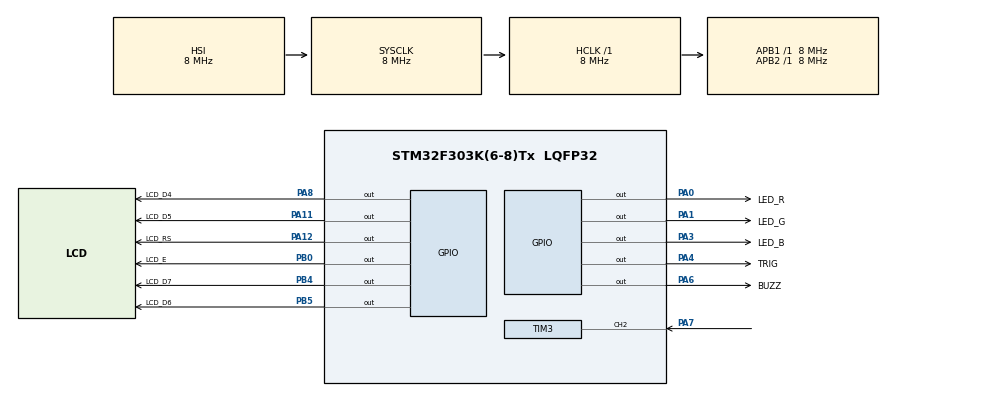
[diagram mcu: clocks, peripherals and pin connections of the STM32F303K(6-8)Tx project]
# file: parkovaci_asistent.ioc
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Mcu.Family=STM32F3
Mcu.Name=STM32F303K(6-8)Tx
Mcu.Package=LQFP32
NVIC.PriorityGroup=NVIC_PRIORITYGROUP_4
NVIC.TIM3_IRQn=true\:0\:0\:false\:false\:true\:true\:true\:true
PA0.GPIO_Label=LED_R
PA0.GPIO_Speed=GPIO_SPEED_FREQ_LOW
PA0.Signal=GPIO_Output
PA1.GPIO_Label=LED_G
PA1.Signal=GPIO_Output
PA11.GPIO_Label=LCD_D5
PA11.GPIO_Speed=GPIO_SPEED_FREQ_MEDIUM
PA11.Signal=GPIO_Output
PA12.GPIO_Label=LCD_RS
PA12.GPIO_Speed=GPIO_SPEED_FREQ_MEDIUM
PA12.Signal=GPIO_Output
PA13.Mode=Serial_Wire
PA13.Signal=SYS_JTMS-SWDIO
PA14.Mode=Serial_Wire
PA14.Signal=SYS_JTCK-SWCLK
PA3.GPIO_Label=LED_B
PA3.Signal=GPIO_Output
PA4.GPIO_Label=TRIG
PA4.GPIO_Speed=GPIO_SPEED_FREQ_MEDIUM
PA4.Signal=GPIO_Output
PA6.GPIO_Label=BUZZ
PA6.Signal=GPIO_Output
PA7.Signal=S_TIM3_CH2
PA8.GPIO_Label=LCD_D4
PA8.GPIO_Speed=GPIO_SPEED_FREQ_MEDIUM
PA8.Signal=GPIO_Output
PB0.GPIO_Label=LCD_E
PB0.GPIO_Speed=GPIO_SPEED_FREQ_MEDIUM
PB0.Signal=GPIO_Output
PB4.GPIO_Label=LCD_D7
PB4.GPIO_Speed=GPIO_SPEED_FREQ_MEDIUM
PB4.Signal=GPIO_Output
PB5.GPIO_Label=LCD_D6
PB5.GPIO_Speed=GPIO_SPEED_FREQ_MEDIUM
PB5.Signal=GPIO_Output
ProjectManager.HeapSize=0x200
ProjectManager.StackSize=0x400
ProjectManager.TargetToolchain=STM32CubeIDE
RCC.AHBFreq_Value=8000000
RCC.APB1Freq_Value=8000000
RCC.APB2Freq_Value=8000000
RCC.CortexFreq_Value=8000000
RCC.HSE_VALUE=8000000
RCC.HSI_VALUE=8000000
RCC.SYSCLKFreq_VALUE=8000000
SH.S_TIM3_CH2.0=TIM3_CH2,Input_Capture2_from_TI2
TIM3.Channel-Input_Capture2_from_TI2=TIM_CHANNEL_2
TIM3.Prescaler=7
VP_TIM3_VS_ClockSourceINT.Mode=Internal
board=custom

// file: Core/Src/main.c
/* USER CODE BEGIN Header */
/**
  ******************************************************************************
  * @file           :
  * @brief          :
  ******************************************************************************
  * @attention
  *
  * Copyright (c) 2025 STMicroelectronics.
  * All rights reserved.
  *
  * This software is licensed under terms that can be found in the LICENSE file
  * in the root directory of this software component.
  * If no LICENSE file comes with this software, it is provided AS-IS.
  *
  ******************************************************************************
  */
/* USER CODE END Header */
#include "main.h"
#include "lcd1602.h"
#include "rgb_led.h"
#include "buzzer.h"
#include "hcsr04.h"
#include <stdio.h>
#include "stm32f3xx_hal.h"

TIM_HandleTypeDef htim3;

void SystemClock_Config(void);
static void MX_GPIO_Init(void);
static void MX_TIM3_Init(void);
/* USER CODE BEGIN PFP */

/* ================= PALIČKY NA LCD ================= */

static void LCD_DrawBars(float d)

{

    uint8_t bars = 0;

    if      (d < 10.0f) bars = 16;

    else if (d < 15.0f) bars = 12;

    else if (d < 20.0f) bars = 8;

    else if (d < 25.0f) bars = 4;

    else                bars = 0;

    LCD1602_SetCursor(1, 0);

    for (uint8_t i = 0; i < 16; i++)
        {
            if (i < bars)
                LCD1602_WriteChar(0xFF);
            else
                LCD1602_WriteChar(' ');
        }
}

/* ================================================= */
/* USER CODE END PFP */

int main(void)
{

  /* MCU Configuration--------------------------------------------------------*/

  /* Reset of all peripherals, Initializes the Flash interface and the Systick. */
  HAL_Init();

  /* Configure the system clock */
  SystemClock_Config();

  /* Initialize all configured peripherals */
  MX_GPIO_Init();
  MX_TIM3_Init();
  LCD1602_Init();
  RGB_LED_Init();
  Buzzer_Init();

  HCSR04_Init(&htim3, TIM_CHANNEL_2);
  HAL_TIM_IC_Start_IT(&htim3, TIM_CHANNEL_2);

  /* Infinite loop */
    while (1)
    {
  	  static uint32_t lastTrig = 0;
  	  static uint32_t lastLcd  = 0;

  	  uint32_t now = HAL_GetTick();

  	  if (now - lastTrig >= 60)
  	  {
  	      HCSR04_Trigger();
  	      lastTrig = now;
  	  }

  	  if (HCSR04_IsReady())
  	  {
  	      float d = HCSR04_GetDistanceCm();

  	      if (d < 10.0f) { RGB_LED_Red(); Buzzer_On();}
  	      else if (d < 25.0f) { RGB_LED_Yellow(); Buzzer_Off();}
  	      else { RGB_LED_Green(); Buzzer_Off();}

  	      if (now - lastLcd >= 200)
  	      {
  	          char line0[17];
  	          snprintf(line0, sizeof(line0), "Dist: %3.1fcm", d);

  	          LCD1602_SetCursor(0, 0);
  	          LCD1602_Print(line0);

			LCD_DrawBars(d);

  	          lastLcd = now;
  	      }
  	  }
  	  else if (HCSR04_HasTimedOut(40))
  	  {
  	      RGB_LED_Blue();
  	      Buzzer_Off();
  	  }

    }
  }

void SystemClock_Config(void)
{
  RCC_OscInitTypeDef RCC_OscInitStruct = {0};
  RCC_ClkInitTypeDef RCC_ClkInitStruct = {0};

  /** Initializes the RCC Oscillators according to the specified parameters
  * in the RCC_OscInitTypeDef structure.
  */
  RCC_OscInitStruct.OscillatorType = RCC_OSCILLATORTYPE_HSI;
  RCC_OscInitStruct.HSIState = RCC_HSI_ON;
  RCC_OscInitStruct.HSICalibrationValue = RCC_HSICALIBRATION_DEFAULT;
  RCC_OscInitStruct.PLL.PLLState = RCC_PLL_NONE;
  if (HAL_RCC_OscConfig(&RCC_OscInitStruct) != HAL_OK)
  {
    Error_Handler();
  }

  /** Initializes the CPU, AHB and APB buses clocks
  */
  RCC_ClkInitStruct.ClockType = RCC_CLOCKTYPE_HCLK|RCC_CLOCKTYPE_SYSCLK
                              |RCC_CLOCKTYPE_PCLK1|RCC_CLOCKTYPE_PCLK2;
  RCC_ClkInitStruct.SYSCLKSource = RCC_SYSCLKSOURCE_HSI;
  RCC_ClkInitStruct.AHBCLKDivider = RCC_SYSCLK_DIV1;
  RCC_ClkInitStruct.APB1CLKDivider = RCC_HCLK_DIV1;
  RCC_ClkInitStruct.APB2CLKDivider = RCC_HCLK_DIV1;

  if (HAL_RCC_ClockConfig(&RCC_ClkInitStruct, FLASH_LATENCY_0) != HAL_OK)
  {
    Error_Handler();
  }
}

static void MX_TIM3_Init(void)
{

  TIM_ClockConfigTypeDef sClockSourceConfig = {0};
  TIM_MasterConfigTypeDef sMasterConfig = {0};
  TIM_IC_InitTypeDef sConfigIC = {0};

  htim3.Instance = TIM3;
  htim3.Init.Prescaler = 7;
  htim3.Init.CounterMode = TIM_COUNTERMODE_UP;
  htim3.Init.Period = 65535;
  htim3.Init.ClockDivision = TIM_CLOCKDIVISION_DIV1;
  htim3.Init.AutoReloadPreload = TIM_AUTORELOAD_PRELOAD_DISABLE;
  if (HAL_TIM_Base_Init(&htim3) != HAL_OK)
  {
    Error_Handler();
  }
  sClockSourceConfig.ClockSource = TIM_CLOCKSOURCE_INTERNAL;
  if (HAL_TIM_ConfigClockSource(&htim3, &sClockSourceConfig) != HAL_OK)
  {
    Error_Handler();
  }
  if (HAL_TIM_IC_Init(&htim3) != HAL_OK)
  {
    Error_Handler();
  }
  sMasterConfig.MasterOutputTrigger = TIM_TRGO_RESET;
  sMasterConfig.MasterSlaveMode = TIM_MASTERSLAVEMODE_DISABLE;
  if (HAL_TIMEx_MasterConfigSynchronization(&htim3, &sMasterConfig) != HAL_OK)
  {
    Error_Handler();
  }
  sConfigIC.ICPolarity = TIM_INPUTCHANNELPOLARITY_RISING;
  sConfigIC.ICSelection = TIM_ICSELECTION_DIRECTTI;
  sConfigIC.ICPrescaler = TIM_ICPSC_DIV1;
  sConfigIC.ICFilter = 4;
  if (HAL_TIM_IC_ConfigChannel(&htim3, &sConfigIC, TIM_CHANNEL_2) != HAL_OK)
  {
    Error_Handler();
  }

}

static void MX_GPIO_Init(void)
{
  GPIO_InitTypeDef GPIO_InitStruct = {0};

  /* GPIO Ports Clock Enable */
  __HAL_RCC_GPIOA_CLK_ENABLE();
  __HAL_RCC_GPIOB_CLK_ENABLE();

  /*Configure GPIO pin Output Level */
  HAL_GPIO_WritePin(GPIOA, LED_R_Pin|LED_G_Pin|LED_B_Pin|TRIG_Pin
                          |BUZZ_Pin|LCD_D4_Pin|LCD_D5_Pin|LCD_RS_Pin, GPIO_PIN_RESET);

  /*Configure GPIO pin Output Level */
  HAL_GPIO_WritePin(GPIOB, LCD_E_Pin|LCD_D7_Pin|LCD_D6_Pin, GPIO_PIN_RESET);

  /*Configure GPIO pins : LED_R_Pin LED_G_Pin LED_B_Pin BUZZ_Pin */
  GPIO_InitStruct.Pin = LED_R_Pin|LED_G_Pin|LED_B_Pin|BUZZ_Pin;
  GPIO_InitStruct.Mode = GPIO_MODE_OUTPUT_PP;
  GPIO_InitStruct.Pull = GPIO_NOPULL;
  GPIO_InitStruct.Speed = GPIO_SPEED_FREQ_LOW;
  HAL_GPIO_Init(GPIOA, &GPIO_InitStruct);

  /*Configure GPIO pins : TRIG_Pin LCD_D4_Pin LCD_D5_Pin LCD_RS_Pin */
  GPIO_InitStruct.Pin = TRIG_Pin|LCD_D4_Pin|LCD_D5_Pin|LCD_RS_Pin;
  GPIO_InitStruct.Mode = GPIO_MODE_OUTPUT_PP;
  GPIO_InitStruct.Pull = GPIO_NOPULL;
  GPIO_InitStruct.Speed = GPIO_SPEED_FREQ_MEDIUM;
  HAL_GPIO_Init(GPIOA, &GPIO_InitStruct);

  /*Configure GPIO pins : LCD_E_Pin LCD_D7_Pin LCD_D6_Pin */
  GPIO_InitStruct.Pin = LCD_E_Pin|LCD_D7_Pin|LCD_D6_Pin;
  GPIO_InitStruct.Mode = GPIO_MODE_OUTPUT_PP;
  GPIO_InitStruct.Pull = GPIO_NOPULL;
  GPIO_InitStruct.Speed = GPIO_SPEED_FREQ_MEDIUM;
  HAL_GPIO_Init(GPIOB, &GPIO_InitStruct);

}

/* USER CODE BEGIN 4 */

void HAL_TIM_IC_CaptureCallback(TIM_HandleTypeDef *htim)

{

    HCSR04_OnCaptureIRQ(htim);

}

/* USER CODE END 4 */

void Error_Handler(void)
{
  __disable_irq();
  while (1)
  {
  }
}
